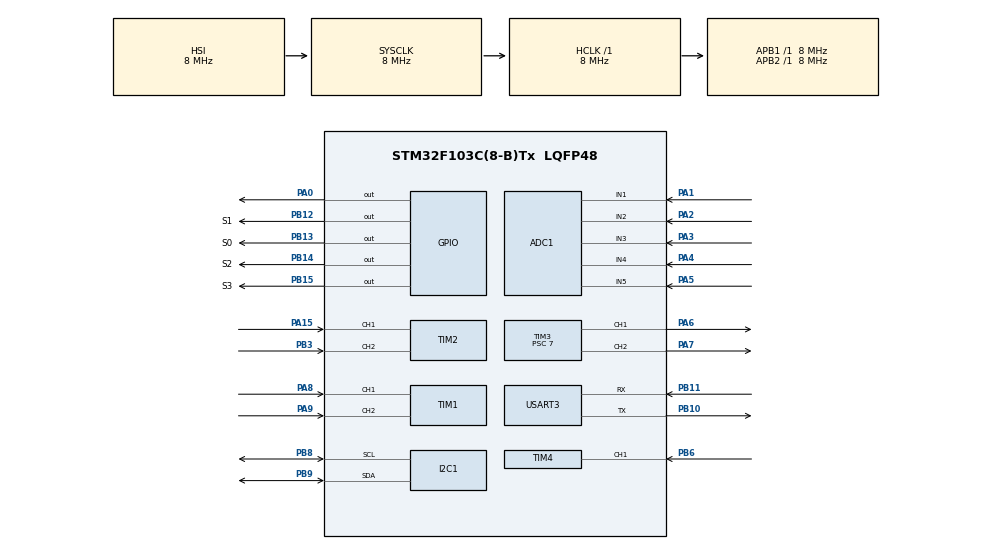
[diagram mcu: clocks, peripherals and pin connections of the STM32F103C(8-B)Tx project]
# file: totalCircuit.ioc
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ADC1.Channel-2\#ChannelRegularConversion=ADC_CHANNEL_1
ADC1.Channel-3\#ChannelRegularConversion=ADC_CHANNEL_2
ADC1.Channel-4\#ChannelRegularConversion=ADC_CHANNEL_3
ADC1.Channel-5\#ChannelRegularConversion=ADC_CHANNEL_4
ADC1.Channel-6\#ChannelRegularConversion=ADC_CHANNEL_5
ADC1.ContinuousConvMode=ENABLE
ADC1.NbrOfConversion=5
ADC1.NbrOfConversionFlag=1
ADC1.Rank-2\#ChannelRegularConversion=1
ADC1.Rank-3\#ChannelRegularConversion=2
ADC1.Rank-4\#ChannelRegularConversion=3
ADC1.Rank-5\#ChannelRegularConversion=4
ADC1.Rank-6\#ChannelRegularConversion=5
ADC1.SamplingTime-2\#ChannelRegularConversion=ADC_SAMPLETIME_239CYCLES_5
ADC1.SamplingTime-3\#ChannelRegularConversion=ADC_SAMPLETIME_239CYCLES_5
ADC1.SamplingTime-4\#ChannelRegularConversion=ADC_SAMPLETIME_239CYCLES_5
ADC1.SamplingTime-5\#ChannelRegularConversion=ADC_SAMPLETIME_239CYCLES_5
ADC1.SamplingTime-6\#ChannelRegularConversion=ADC_SAMPLETIME_239CYCLES_5
ADC1.master=1
Dma.ADC1.0.Direction=DMA_PERIPH_TO_MEMORY
Dma.ADC1.0.Instance=DMA1_Channel1
Dma.ADC1.0.MemDataAlignment=DMA_MDATAALIGN_HALFWORD
Dma.ADC1.0.MemInc=DMA_MINC_ENABLE
Dma.ADC1.0.Mode=DMA_CIRCULAR
Dma.ADC1.0.PeriphDataAlignment=DMA_PDATAALIGN_HALFWORD
Dma.ADC1.0.PeriphInc=DMA_PINC_DISABLE
Dma.ADC1.0.Priority=DMA_PRIORITY_LOW
Dma.Request0=ADC1
Mcu.Family=STM32F1
Mcu.Name=STM32F103C(8-B)Tx
Mcu.Package=LQFP48
NVIC.DMA1_Channel1_IRQn=true\:0\:0\:false\:false\:true\:false\:true\:true
NVIC.PriorityGroup=NVIC_PRIORITYGROUP_4
NVIC.TIM3_IRQn=true\:1\:0\:true\:false\:true\:true\:true\:true
PA0-WKUP.Signal=GPIO_Output
PA1.Signal=ADCx_IN1
PA13.Mode=Serial_Wire
PA13.Signal=SYS_JTMS-SWDIO
PA14.Mode=Serial_Wire
PA14.Signal=SYS_JTCK-SWCLK
PA15.GPIO_PuPd=GPIO_PULLUP
PA15.Signal=S_TIM2_CH1_ETR
PA2.Signal=ADCx_IN2
PA3.Signal=ADCx_IN3
PA4.Signal=ADCx_IN4
PA5.Signal=ADCx_IN5
PA6.Signal=S_TIM3_CH1
PA7.Signal=S_TIM3_CH2
PA8.GPIO_PuPd=GPIO_PULLUP
PA8.Signal=S_TIM1_CH1
PA9.GPIO_PuPd=GPIO_PULLUP
PA9.Signal=S_TIM1_CH2
PB10.Mode=Asynchronous
PB10.Signal=USART3_TX
PB11.Mode=Asynchronous
PB11.Signal=USART3_RX
PB12.GPIO_Label=S1
PB12.Signal=GPIO_Output
PB13.GPIO_Label=S0
PB13.Signal=GPIO_Output
PB14.GPIO_Label=S2
PB14.Signal=GPIO_Output
PB15.GPIO_Label=S3
PB15.Signal=GPIO_Output
PB3.GPIO_PuPd=GPIO_PULLUP
PB3.Signal=S_TIM2_CH2
PB6.Signal=S_TIM4_CH1
PB8.Mode=I2C
PB8.Signal=I2C1_SCL
PB9.Mode=I2C
PB9.Signal=I2C1_SDA
ProjectManager.HeapSize=0x200
ProjectManager.StackSize=0x400
ProjectManager.TargetToolchain=STM32CubeIDE
RCC.AHBFreq_Value=8000000
RCC.APB1Freq_Value=8000000
RCC.APB1TimFreq_Value=8000000
RCC.APB2Freq_Value=8000000
RCC.APB2TimFreq_Value=8000000
RCC.HCLKFreq_Value=8000000
RCC.PLLMUL=RCC_PLL_MUL6
RCC.SYSCLKFreq_VALUE=8000000
RCC.USBFreq_Value=24000000
SH.ADCx_IN1.0=ADC1_IN1,IN1
SH.ADCx_IN2.0=ADC1_IN2,IN2
SH.ADCx_IN3.0=ADC1_IN3,IN3
SH.ADCx_IN4.0=ADC1_IN4,IN4
SH.ADCx_IN5.0=ADC1_IN5,IN5
SH.S_TIM1_CH1.0=TIM1_CH1,Encoder_Interface
SH.S_TIM1_CH2.0=TIM1_CH2,Encoder_Interface
SH.S_TIM2_CH1_ETR.0=TIM2_CH1,Encoder_Interface
SH.S_TIM2_CH2.0=TIM2_CH2,Encoder_Interface
SH.S_TIM3_CH1.0=TIM3_CH1,PWM Generation1 CH1
SH.S_TIM3_CH2.0=TIM3_CH2,PWM Generation2 CH2
SH.S_TIM4_CH1.0=TIM4_CH1,Input_Capture1_from_TI1
SH.S_TIM4_CH1.1=TIM4_CH1,TriggerSource_TI1FP1
TIM1.EncoderMode=TIM_ENCODERMODE_TI12
TIM2.EncoderMode=TIM_ENCODERMODE_TI12
TIM3.Channel-PWM\ Generation1\ CH1=TIM_CHANNEL_1
TIM3.Channel-PWM\ Generation2\ CH2=TIM_CHANNEL_2
TIM3.Period=99
TIM3.Prescaler=7
TIM4.Channel-Input_Capture1_from_TI1=TIM_CHANNEL_1
USART3.VirtualMode=VM_ASYNC
VP_TIM3_VS_ClockSourceINT.Mode=Internal
VP_TIM4_VS_ClockSourceINT.Mode=Internal
VP_TIM4_VS_ControllerModeReset.Mode=Reset Mode
board=custom

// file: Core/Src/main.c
/* USER CODE BEGIN Header */
/**
  ******************************************************************************
  * @file           : main.c
  * @brief          : Main program body
  ******************************************************************************
  * @attention
  *
  * Copyright (c) 2023 STMicroelectronics.
  * All rights reserved.
  *
  * This software is licensed under terms that can be found in the LICENSE file
  * in the root directory of this software component.
  * If no LICENSE file comes with this software, it is provided AS-IS.
  *
  ******************************************************************************
  */
/* USER CODE END Header */
#include "main.h"

/* USER CODE BEGIN Includes */
#include <stdio.h>
#include <stdint.h>
#include <string.h>
#include <stddef.h>
#include <math.h>
/* USER CODE END Includes */

ADC_HandleTypeDef hadc1;
DMA_HandleTypeDef hdma_adc1;

I2C_HandleTypeDef hi2c1;

TIM_HandleTypeDef htim1;
TIM_HandleTypeDef htim2;
TIM_HandleTypeDef htim3;
TIM_HandleTypeDef htim4;

UART_HandleTypeDef huart3;

/* USER CODE BEGIN PV */
//bien lay mau dong co
float n = 0.0;
int encoder_cnt_1 = 0, encoder_cnt_pre_1 = 0, encoder_cnt_2 = 0, encoder_cnt_pre_2 = 0;
float rate_1 = 0, rate_2 = 0;
int k = 0, kkkk = 0;
float setpoint = 100;
float rpm_tb1 = 0, rpm_tb2 = 0;
//biến sensorline
uint16_t AdcValues[5];
uint16_t ADCMinValue[5] = {247, 237, 192, 192, 204};
uint16_t ADCMaxValue[5] = {3203, 3118, 2849, 3005, 2974};
uint16_t sumADCmax = 0, sumADCmin = 0;
uint16_t Ymax = 3030, Ymin = 210;
uint16_t AdcValuesAfterCalib[5];
float A[5], e2 = 0, pre_e2 = 0, e3 = 0, pre_e3 = 0;
float sum_Adcvalues = 0;
float pwm = 0.0;
//biến colorsensor
uint32_t red_value = 0, blue_value = 0, green_value = 0;
int green = 0, red = 0, blue = 0, hangXanh = 0, hangDo = 0, empty = 1, outline = 0;

//biến động cơ
uint32_t current_time = 0, time_A = 0, time_B = 0;
int encoder_cnt_A = 0, encoder_cnt_pre_A = 0, encoder_cnt_B = 0, encoder_cnt_pre_B = 0;
float rpm_A = 0, rpm_B = 0, v_A = 0, v_B = 0, r = 0.0325, b = 0.26;
int stop = 0;
float duty_cycle_1 = 0, duty_cycle_pre_1 = 0, duty_cycle_2 = 0, duty_cycle_pre_2 = 0, duty_cycle_A = 0, duty_cycle_B = 0;

float P_part_A = 0, I_part_A = 0, D_part_A = 0;
float P_part_B = 0, I_part_B = 0, D_part_B = 0;

float er_A = 0, er_A_pre = 0, er_A_pre_pre = 0;
float er_B = 0, er_B_pre = 0, er_B_pre_pre = 0;
float error_rpm_A = 0, error_prev_A = 0, integral_error_A = 0, derivative_error_A = 0, error_rpm_B = 0, error_prev_B = 0, integral_error_B = 0, derivative_error_B = 0;
//he thong
float Ts = 0.01;
float vr = 0.7, vtb = 0, wr = 0, s = 0;
float v, w;
float k1 = 0, k2 = 280, k3 = 20;//180 16
float kp_A = 0.5, ki_A = 9.5, kd_A = 0.001; //kp_A = 0.56, ki_A = 11.2, kd_A = 0.0025
float kp_B = 0.3, ki_B = 10, kd_B = 0.001; //kp_B = 0.388, ki_B = 11.5, kd_B = 0.0016;
float e1_line = 0, e2_line = 0, e3_line = 0;
float setpoint_r = 0, setpoint_l = 0;
int i = 0, count = 0;
#define PI 3.1416
/* USER CODE END PV */

void SystemClock_Config(void);
static void MX_GPIO_Init(void);
static void MX_DMA_Init(void);
static void MX_TIM1_Init(void);
static void MX_TIM2_Init(void);
static void MX_TIM3_Init(void);
static void MX_TIM4_Init(void);
static void MX_ADC1_Init(void);
static void MX_USART3_UART_Init(void);
static void MX_I2C1_Init(void);
/* USER CODE BEGIN PFP */
//ham tri tuyet doi
float abs_(float a) {
	if(a < 0) return -a;
	else return a;
}

//xe
void Follow_Tracking(void)
{
	wr = -e3;
	v = vr * cos(e3) + k1 * e1_line; //m/s
	w = wr + vr * k2 * e2/1000  + k3 * vr * sin(e3); //rad/s
	setpoint_r = (1 / r) * (v - b * w/2) * (60 / (2 * PI)); //rpm
	setpoint_l = (1 / r) * (v + b * w/2) * (60 / (2 * PI)); //rpm
	if(setpoint_r < 0){
		setpoint_r = 0;
	}
	if(setpoint_r >= 250){
		setpoint_r = 250;
	}
	if(setpoint_l < 0){
		setpoint_l = 0;
	}
	if(setpoint_l >= 250){
		setpoint_l = 250;
	}
}
//stop to get goods and no line no run
void stop_or_run(){
	if((empty == 1 && AdcValues[0] >= 230 && AdcValues[1] >= 230 && AdcValues[2] >= 230 && AdcValues[3] >= 230 && AdcValues[4] >= 230)) {
		stop = 1;
	}
}
void no_line_no_run() {
	if((AdcValues[0] <= 700 && AdcValues[1] <= 700 && AdcValues[2] <= 700 && AdcValues[3] <= 700 && AdcValues[4] <= 700)){
		stop = 1;
		outline = 1;
	}
}
//check good?
void yes_or_no_good(){
	if(green == 1 && red == 0) {
		  hangXanh = 1;
		  hangDo = 0;
		  empty = 0;
	}
	if(green == 0 && red == 1){

		  hangXanh = 0;
		  hangDo = 1;
		  empty = 0;
	}
}
//sensorline
void CaculatorFuntionSensor(void)
   {
            A[0] = (float) ( Ymax - Ymin ) / ( ADCMaxValue[0] - ADCMinValue[0] );
            A[1] = (float) ( Ymax - Ymin ) / ( ADCMaxValue[1] - ADCMinValue[1] );
            A[2] = (float) ( Ymax - Ymin ) / ( ADCMaxValue[2] - ADCMinValue[2] );
            A[3] = (float) ( Ymax - Ymin ) / ( ADCMaxValue[3] - ADCMinValue[3] );
            A[4] = (float) ( Ymax - Ymin ) / ( ADCMaxValue[4] - ADCMinValue[4] );
      }
void CalibrationSenrsorValue(uint16_t *ADCValue)
{
		AdcValuesAfterCalib[0] = (uint16_t) (Ymin + A[0]*( ADCValue[0] - ADCMinValue[0]));
		AdcValuesAfterCalib[1] = (uint16_t) (Ymin + A[1]*( ADCValue[1] - ADCMinValue[1]));
		AdcValuesAfterCalib[2] = (uint16_t) (Ymin + A[2]*( ADCValue[2] - ADCMinValue[2]));
		AdcValuesAfterCalib[3] = (uint16_t) (Ymin + A[3]*( ADCValue[3] - ADCMinValue[3]));
		AdcValuesAfterCalib[4] = (uint16_t) (Ymin + A[4]*( ADCValue[4] - ADCMinValue[4]));
}

void CalibSensorDependOnEnvironment(void)
{
	for(uint8_t i = 0; i < 5; i++)
	{
		if(AdcValues[i] != 0)
		{
			if(AdcValues[i] > ADCMaxValue[i])
				ADCMaxValue[i] = AdcValues[i];
			if(AdcValues[i] < ADCMinValue[i])
				ADCMinValue[i] = AdcValues[i];
		}
		sumADCmax += ADCMaxValue[i];
		sumADCmin += ADCMinValue[i];
	}
	Ymax = sumADCmax/5;
	Ymin = sumADCmin/5;
	sumADCmax = 0;
	sumADCmin = 0;
}
float ErrorLine(void)
{
      CalibrationSenrsorValue(AdcValues);
      sum_Adcvalues = (AdcValuesAfterCalib[0] + AdcValuesAfterCalib[1] + AdcValuesAfterCalib[2] + AdcValuesAfterCalib[3] + AdcValuesAfterCalib[4]);
      float e2_line = (2*(AdcValuesAfterCalib[4] - AdcValuesAfterCalib[0]) + (AdcValuesAfterCalib[3] - AdcValuesAfterCalib[1]))*17/sum_Adcvalues;
      //e2_line = (e2_line + 0.2565)/0.7247;
      return -e2_line;
}
void find_e2_e3(void) {
	  CalibSensorDependOnEnvironment();
	  CaculatorFuntionSensor();
	  CalibrationSenrsorValue(AdcValues);
	  e2 = ErrorLine();
	  if(vtb != 0){
		  e3 = atan((e2 - pre_e2)/ (vtb*Ts*1000));
	  }
	  else e3 = 0;
}

//color sensor
void color_recognize(){
   for(int i = 0; i < 3; i++){
         switch (i){
            case 0:
               HAL_GPIO_WritePin(S2_GPIO_Port, S2_Pin, 0);
               HAL_GPIO_WritePin(S3_GPIO_Port, S3_Pin, 0);
               red_value = HAL_TIM_ReadCapturedValue(&htim4, TIM_CHANNEL_1);
               HAL_Delay(1);
               break;
            case 1:
               HAL_GPIO_WritePin(S2_GPIO_Port, S2_Pin, 0);
               HAL_GPIO_WritePin(S3_GPIO_Port, S3_Pin, 1);
               blue_value = HAL_TIM_ReadCapturedValue(&htim4, TIM_CHANNEL_1);
               HAL_Delay(1);
               break;
            case 2:
               HAL_GPIO_WritePin(S2_GPIO_Port, S2_Pin, 1);
               HAL_GPIO_WritePin(S3_GPIO_Port, S3_Pin, 1);
               green_value = HAL_TIM_ReadCapturedValue(&htim4, TIM_CHANNEL_1);
               HAL_Delay(1);
         }
      }
   //detect Red
      if ((red_value > 30700 && red_value < 31000) &&  (blue_value > 30700 && blue_value < 31000) && (green_value > 30700 && green_value < 31000)){
         green = 0;
         red = 1;
         blue = 0;
      }
      // Green
      else if ((red_value > 200 && red_value < 250) &&  (blue_value > 200 && blue_value < 250) && (green_value > 220 && green_value < 300)){
         green=1;
         red=0;
         blue = 0;
      }
      //Blue
      else if((red_value > 800 && red_value < 1000) &&  (blue_value > 1300 && blue_value < 1500) && ((blue_value > red_value)) && (red_value > green_value)){
		green=0;
		red=0;
		blue = 1;
      }
      else {
         green=0;
         red = 0;
         blue = 0;
      }
}

//giam toc do
void brake(void) {
	if(s >= 6500 && empty == 1) {
		vr = 0.2;
	}
	else if(empty == 0 && s <= 8800){
		vr = 0.7;
	}else if(empty == 0 && s > 8800 && s <= 9500){
		vr = 0.5;
	}else if(empty == 0 && s > 9500 && s <= 11600){
		vr = 0.7;
	}else if(empty == 0 && s > 11600){
		vr = 0.2;
	}
}

//motor
void find_speed(void) {
	//read encoder
	encoder_cnt_A = __HAL_TIM_GET_COUNTER(&htim1); //right
	encoder_cnt_B = __HAL_TIM_GET_COUNTER(&htim2); //left
	//cal rpm and speed (m/s)
	rpm_A = 60*((float)encoder_cnt_A - (float)encoder_cnt_pre_A)/(1496*Ts);
	rpm_B = -60*((float)encoder_cnt_B - (float)encoder_cnt_pre_B)/(1496*Ts);
	v_A = abs_(rpm_A*2*PI*r/60); //m/s
	v_B = abs_(rpm_B*2*PI*r/60); //m/s
	vtb = (v_A+v_B)/2; //m/s
}

float control_motor_A(float rpm_motor, float expected_rpm){ //dc1
	er_A_pre_pre = er_A_pre;
	er_A_pre = er_A;
	er_A = expected_rpm - rpm_motor;
	duty_cycle_pre_1 = duty_cycle_1;
	P_part_A = kp_A*(er_A - er_A_pre);
	I_part_A = 0.5*ki_A*Ts*(er_A + er_A_pre);
	D_part_A = kd_A/Ts*(er_A - 2*er_A_pre + er_A_pre_pre);
	duty_cycle_1 = duty_cycle_pre_1 + P_part_A + I_part_A + D_part_A;
	if(duty_cycle_1 < 0) duty_cycle_1 = 0;
	if(duty_cycle_1 > 100) duty_cycle_1 = 99;
	return duty_cycle_1;
}
float control_motor_B(float rpm_motor, float expected_rpm){ //dc2
	er_B_pre_pre = er_B_pre;
	er_B_pre = er_B;
	er_B = expected_rpm - rpm_motor;
	duty_cycle_pre_2 = duty_cycle_2;
	P_part_B = kp_B*(er_B - er_B_pre);
	I_part_B = 0.5*ki_B*Ts*(er_B + er_B_pre);
	D_part_B = kd_A/Ts*(er_B - 2*er_B_pre + er_B_pre_pre);
	duty_cycle_2 = duty_cycle_pre_2 + P_part_B + I_part_B + D_part_B;
	if(duty_cycle_2 < 0) duty_cycle_2 = 0;
	if(duty_cycle_2 > 100) duty_cycle_2 = 99;
	return duty_cycle_2;
}

//code lay mau cam bien mau
//void HAL_TIM_PeriodElapsedCallback(TIM_HandleTypeDef *htim){
//	i++;
//	if(i == 1000){
//		char str[30];
//		snprintf(str, sizeof(str), "%.2f %.2f\r\n",(float)blue_value, Ts);
//		HAL_UART_Transmit(&huart3, (uint8_t *)str, strlen(str), HAL_MAX_DELAY);
//		i = 0;
//		Ts += 1;
//		k++;
//	}
//}

//code xem dap ung dong co
//void HAL_TIM_PeriodElapsedCallback(TIM_HandleTypeDef *htim){
////	i++;
////	if(i == 95){
//		find_speed();
//		duty_cycle_A = control_motor_A(rpm_A, setpoint);
//		duty_cycle_B = control_motor_B(rpm_B, setpoint);
//		TIM3->CCR1 = (99 - (int)duty_cycle_A);
//		TIM3->CCR2 = (99 - (int)duty_cycle_B);
//		encoder_cnt_pre_A = encoder_cnt_A;
//		encoder_cnt_pre_B = encoder_cnt_B;
////		char str[30];
////		snprintf(str, sizeof(str), "%.2f %.2f\r\n",rpm_B, duty_cycle_B);
////		HAL_UART_Transmit(&huart3, (uint8_t *)str, strlen(str), HAL_MAX_DELAY);
//		HAL_GPIO_TogglePin(GPIOA, GPIO_PIN_0);
////		i = 0;
////	}
//}

//code lay mau dong co tim ham truyen
//void HAL_TIM_PeriodElapsedCallback(TIM_HandleTypeDef *htim){
//	i++;
//	if(i == 90){
//		uint32_t current_time = HAL_GetTick();
//		//n = 52.5 + 46.5 * sin(2 * 3.14 * 0.25 * current_time / 1000.0); //linear from 7-100%
//		n = 54 + 45 * sin(2 * 3.14 * 0.25 * (float)current_time / 1000.0); //linear from 10-100%
//		__HAL_TIM_SetCompare(&htim3, TIM_CHANNEL_1, (99-n));
////		n = 99;
////		TIM3->CCR1 = 0;
////		TIM3->CCR2 = 0;
//		encoder_cnt_2 =__HAL_TIM_GET_COUNTER(&htim2);
//		encoder_cnt_1 =__HAL_TIM_GET_COUNTER(&htim1);
//
//		rate_2 = -60*((float)encoder_cnt_2 - (float)encoder_cnt_pre_2)/(1496*0.01);
//		rate_1 = 60*((float)encoder_cnt_1 - (float)encoder_cnt_pre_1)/(1496*0.01);
//
//		encoder_cnt_pre_2 = encoder_cnt_2;
//		encoder_cnt_pre_1 = encoder_cnt_1;
//
//		char str[30];
//		snprintf(str, sizeof(str), "%.2f %.2f\r\n",rate_1, n+1);
//		HAL_UART_Transmit(&huart3, (uint8_t *)str, strlen(str), HAL_MAX_DELAY);
//		HAL_GPIO_TogglePin(GPIOA, GPIO_PIN_0);
////		k++;
//		i = 0;
//	}
//}

//code chuong trinh chinh
void HAL_TIM_PeriodElapsedCallback(TIM_HandleTypeDef *htim){
	i++;
	if(i == 85) { //tglm la 0.05s 85
		//no line no run and stop to get goods
		stop_or_run(); //den vach tai hang hoac ra khoi line se dung 'stop = 1'
		no_line_no_run();
		brake();
		//find error
		find_e2_e3();
		//find_speed
		find_speed();
		//fl tracking (lyapunov)
		Follow_Tracking();
		//find pwm to provide for motor
		duty_cycle_A = control_motor_A(rpm_A, setpoint_r);  //return pwm dc1
		duty_cycle_B = control_motor_B(rpm_B, setpoint_l);  //return pwm dc2
		//setup for next time
		encoder_cnt_pre_A = encoder_cnt_A;
		encoder_cnt_pre_B = encoder_cnt_B;
		pre_e2 = e2;
		pre_e3 = e3;
		//run fl pwm
		if(stop == 0) {
		  TIM3->CCR1 = (99-(int)duty_cycle_A);
		  TIM3->CCR2 = (99-(int)duty_cycle_B);
		}
		else {
		  TIM3->CCR1 = 99;
		  TIM3->CCR2 = 99;
		}
		s += vtb*Ts*1000;
		if((hangXanh == 1 || hangDo == 1) && outline == 0){
			stop = 0;
			if(empty == 0 && ((AdcValues[0] < 1000 && AdcValues[1] > 2000 && AdcValues[2] > 2000 && AdcValues[3] > 2000 && AdcValues[4] < 1000) //01110
					|| (AdcValues[0] > 2000 && AdcValues[1] < 1000 && AdcValues[2] < 1000 && AdcValues[3] < 1000 && AdcValues[4] > 2000) //10001
					|| (AdcValues[0] < 1000 && AdcValues[1] > 2000 && AdcValues[2] < 1000 && AdcValues[3] > 2000 && AdcValues[4] < 1000) //01010
					|| (AdcValues[0] > 2000 && AdcValues[1] > 2000 && AdcValues[2] < 1000 && AdcValues[3] > 2000 && AdcValues[4] < 1000) //11010
					|| (AdcValues[0] > 2000 && AdcValues[1] > 2000 && AdcValues[2] < 1000 && AdcValues[3] > 2000 && AdcValues[4] > 2000) //11011
					|| (AdcValues[0] > 2000 && AdcValues[1] > 2000 && AdcValues[2] < 1000 && AdcValues[3] < 1000 && AdcValues[4] > 2000) //11001
					|| (AdcValues[0] > 2000 && AdcValues[1] < 1000 && AdcValues[2] < 1000 && AdcValues[3] > 2000 && AdcValues[4] > 2000) //10011
					|| (AdcValues[0] > 2000 && AdcValues[1] < 1000 && AdcValues[2] > 2000 && AdcValues[3] > 2000 && AdcValues[4] < 1000) //10110
					|| (AdcValues[0] < 1000 && AdcValues[1] > 2000 && AdcValues[2] > 2000 && AdcValues[3] < 1000 && AdcValues[4] > 2000)
					|| (AdcValues[0] > 2000 && AdcValues[1] < 1000 && AdcValues[3] < 1000 && AdcValues[4] > 2000)
					|| (AdcValues[1] > 2000 && AdcValues[0] < 1000 && AdcValues[4] < 1000 && AdcValues[3] > 2000)
					|| (AdcValues[0] > 2000 && AdcValues[1] > 2000 && AdcValues[3] > 2000 && AdcValues[4] > 2000 && AdcValues[2] < 1000))){ //01101
				if(hangXanh == 1) {
					TIM3->CCR1 = 99;//99
					TIM3->CCR2 = 0;//0
				}
				else if(hangDo == 1){
					TIM3->CCR1 = 0;
					TIM3->CCR2 = 99;
				}
			}
		}
		//code lay mau sai so tra ve qua uart
//		HAL_GPIO_TogglePin(GPIOA, GPIO_PIN_0);
//		char str[30];
//		snprintf(str, sizeof(str), "%.2f %.2f\r\n",e2, vtb);
//		HAL_UART_Transmit(&huart3, (uint8_t *)str, strlen(str), HAL_MAX_DELAY);
		i = 0;
	}
}
/* USER CODE END PFP */

int main(void)
{

  /* MCU Configuration--------------------------------------------------------*/

  /* Reset of all peripherals, Initializes the Flash interface and the Systick. */
  HAL_Init();

  /* Configure the system clock */
  SystemClock_Config();

  /* Initialize all configured peripherals */
  MX_GPIO_Init();
  MX_DMA_Init();
  MX_TIM1_Init();
  MX_TIM2_Init();
  MX_TIM3_Init();
  MX_TIM4_Init();
  MX_ADC1_Init();
  MX_USART3_UART_Init();
  MX_I2C1_Init();
  /* USER CODE BEGIN 2 */
  //cảm biến màu
  HAL_GPIO_WritePin(S0_GPIO_Port, S0_Pin, 0);
  HAL_GPIO_WritePin(S1_GPIO_Port, S1_Pin, 1);
  HAL_GPIO_WritePin(S2_GPIO_Port, S2_Pin, 0);
  HAL_GPIO_WritePin(S3_GPIO_Port, S3_Pin, 1);
  HAL_TIM_IC_Start(&htim4, TIM_CHANNEL_1);

  //dò line
  HAL_ADC_Start_DMA(&hadc1,(uint32_t*)AdcValues,5);
  CalibSensorDependOnEnvironment();
  CaculatorFuntionSensor();

  //động cơ
  HAL_TIM_Encoder_Start(&htim1, TIM_CHANNEL_1 | TIM_CHANNEL_2);
  HAL_TIM_Encoder_Start(&htim2, TIM_CHANNEL_1 | TIM_CHANNEL_2);
  HAL_TIM_PWM_Start(&htim3, TIM_CHANNEL_1);
  HAL_TIM_PWM_Start(&htim3, TIM_CHANNEL_2);
  HAL_TIM_Base_Start_IT(&htim3);
  TIM3->CCR1 = 99;
  TIM3->CCR2 = 99;
  /* USER CODE END 2 */

  /* Infinite loop */
  while (1)
  {

    /* USER CODE BEGIN 3 */
		//no line no run and stop to get goods
		stop_or_run(); //den vach tai hang hoac ra khoi line se dung 'stop = 1'
		no_line_no_run();
		//nhan dien mau hang
		color_recognize();
		//check is there good or not
		yes_or_no_good();
		//giam toc
		brake();
		if((hangXanh == 1 || hangDo == 1) && outline == 0){
			stop = 0;
			if(empty == 0 && ((AdcValues[0] < 1000 && AdcValues[1] > 2000 && AdcValues[2] > 2000 && AdcValues[3] > 2000 && AdcValues[4] < 1000) //01110
					|| (AdcValues[0] > 2000 && AdcValues[1] < 1000 && AdcValues[2] < 1000 && AdcValues[3] < 1000 && AdcValues[4] > 2000) //10001
					|| (AdcValues[0] < 1000 && AdcValues[1] > 2000 && AdcValues[2] < 1000 && AdcValues[3] > 2000 && AdcValues[4] < 1000) //01010
					|| (AdcValues[0] > 2000 && AdcValues[1] > 2000 && AdcValues[2] < 1000 && AdcValues[3] > 2000 && AdcValues[4] < 1000) //11010
					|| (AdcValues[0] > 2000 && AdcValues[1] > 2000 && AdcValues[2] < 1000 && AdcValues[3] > 2000 && AdcValues[4] > 2000) //11011
					|| (AdcValues[0] > 2000 && AdcValues[1] > 2000 && AdcValues[2] < 1000 && AdcValues[3] < 1000 && AdcValues[4] > 2000) //11001
					|| (AdcValues[0] > 2000 && AdcValues[1] < 1000 && AdcValues[2] < 1000 && AdcValues[3] > 2000 && AdcValues[4] > 2000) //10011
					|| (AdcValues[0] > 2000 && AdcValues[1] < 1000 && AdcValues[2] > 2000 && AdcValues[3] > 2000 && AdcValues[4] < 1000) //10110
					|| (AdcValues[0] < 1000 && AdcValues[1] > 2000 && AdcValues[2] > 2000 && AdcValues[3] < 1000 && AdcValues[4] > 2000) //01101
					|| (AdcValues[0] > 2000 && AdcValues[1] < 1000 && AdcValues[3] < 1000 && AdcValues[4] > 2000) //10_01
					|| (AdcValues[1] > 2000 && AdcValues[0] < 1000 && AdcValues[4] < 1000 && AdcValues[3] > 2000) //01_10
					|| (AdcValues[0] > 2000 && AdcValues[1] > 2000 && AdcValues[3] > 2000 && AdcValues[4] > 2000 && AdcValues[2] < 1000))){ //11011
				if(hangXanh == 1) {
					TIM3->CCR1 = 99;
					TIM3->CCR2 = 0;
					HAL_Delay(10);
				}
				else if(hangDo == 1){
					TIM3->CCR1 = 0;
					TIM3->CCR2 = 99;
					HAL_Delay(10);
				}
			}
		}
  }
  /* USER CODE END 3 */
}

void SystemClock_Config(void)
{
  RCC_OscInitTypeDef RCC_OscInitStruct = {0};
  RCC_ClkInitTypeDef RCC_ClkInitStruct = {0};
  RCC_PeriphCLKInitTypeDef PeriphClkInit = {0};

  /** Initializes the RCC Oscillators according to the specified parameters
  * in the RCC_OscInitTypeDef structure.
  */
  RCC_OscInitStruct.OscillatorType = RCC_OSCILLATORTYPE_HSI;
  RCC_OscInitStruct.HSIState = RCC_HSI_ON;
  RCC_OscInitStruct.HSICalibrationValue = RCC_HSICALIBRATION_DEFAULT;
  RCC_OscInitStruct.PLL.PLLState = RCC_PLL_NONE;
  if (HAL_RCC_OscConfig(&RCC_OscInitStruct) != HAL_OK)
  {
    Error_Handler();
  }

  /** Initializes the CPU, AHB and APB buses clocks
  */
  RCC_ClkInitStruct.ClockType = RCC_CLOCKTYPE_HCLK|RCC_CLOCKTYPE_SYSCLK
                              |RCC_CLOCKTYPE_PCLK1|RCC_CLOCKTYPE_PCLK2;
  RCC_ClkInitStruct.SYSCLKSource = RCC_SYSCLKSOURCE_HSI;
  RCC_ClkInitStruct.AHBCLKDivider = RCC_SYSCLK_DIV1;
  RCC_ClkInitStruct.APB1CLKDivider = RCC_HCLK_DIV1;
  RCC_ClkInitStruct.APB2CLKDivider = RCC_HCLK_DIV1;

  if (HAL_RCC_ClockConfig(&RCC_ClkInitStruct, FLASH_LATENCY_0) != HAL_OK)
  {
    Error_Handler();
  }
  PeriphClkInit.PeriphClockSelection = RCC_PERIPHCLK_ADC;
  PeriphClkInit.AdcClockSelection = RCC_ADCPCLK2_DIV2;
  if (HAL_RCCEx_PeriphCLKConfig(&PeriphClkInit) != HAL_OK)
  {
    Error_Handler();
  }
}

static void MX_ADC1_Init(void)
{

  ADC_ChannelConfTypeDef sConfig = {0};

  /** Common config
  */
  hadc1.Instance = ADC1;
  hadc1.Init.ScanConvMode = ADC_SCAN_ENABLE;
  hadc1.Init.ContinuousConvMode = ENABLE;
  hadc1.Init.DiscontinuousConvMode = DISABLE;
  hadc1.Init.ExternalTrigConv = ADC_SOFTWARE_START;
  hadc1.Init.DataAlign = ADC_DATAALIGN_RIGHT;
  hadc1.Init.NbrOfConversion = 5;
  if (HAL_ADC_Init(&hadc1) != HAL_OK)
  {
    Error_Handler();
  }

  /** Configure Regular Channel
  */
  sConfig.Channel = ADC_CHANNEL_1;
  sConfig.Rank = ADC_REGULAR_RANK_1;
  sConfig.SamplingTime = ADC_SAMPLETIME_239CYCLES_5;
  if (HAL_ADC_ConfigChannel(&hadc1, &sConfig) != HAL_OK)
  {
    Error_Handler();
  }

  /** Configure Regular Channel
  */
  sConfig.Channel = ADC_CHANNEL_2;
  sConfig.Rank = ADC_REGULAR_RANK_2;
  if (HAL_ADC_ConfigChannel(&hadc1, &sConfig) != HAL_OK)
  {
    Error_Handler();
  }

  /** Configure Regular Channel
  */
  sConfig.Channel = ADC_CHANNEL_3;
  sConfig.Rank = ADC_REGULAR_RANK_3;
  if (HAL_ADC_ConfigChannel(&hadc1, &sConfig) != HAL_OK)
  {
    Error_Handler();
  }

  /** Configure Regular Channel
  */
  sConfig.Channel = ADC_CHANNEL_4;
  sConfig.Rank = ADC_REGULAR_RANK_4;
  if (HAL_ADC_ConfigChannel(&hadc1, &sConfig) != HAL_OK)
  {
    Error_Handler();
  }

  /** Configure Regular Channel
  */
  sConfig.Channel = ADC_CHANNEL_5;
  sConfig.Rank = ADC_REGULAR_RANK_5;
  if (HAL_ADC_ConfigChannel(&hadc1, &sConfig) != HAL_OK)
  {
    Error_Handler();
  }

}

static void MX_I2C1_Init(void)
{

  hi2c1.Instance = I2C1;
  hi2c1.Init.ClockSpeed = 100000;
  hi2c1.Init.DutyCycle = I2C_DUTYCYCLE_2;
  hi2c1.Init.OwnAddress1 = 0;
  hi2c1.Init.AddressingMode = I2C_ADDRESSINGMODE_7BIT;
  hi2c1.Init.DualAddressMode = I2C_DUALADDRESS_DISABLE;
  hi2c1.Init.OwnAddress2 = 0;
  hi2c1.Init.GeneralCallMode = I2C_GENERALCALL_DISABLE;
  hi2c1.Init.NoStretchMode = I2C_NOSTRETCH_DISABLE;
  if (HAL_I2C_Init(&hi2c1) != HAL_OK)
  {
    Error_Handler();
  }

}

static void MX_TIM1_Init(void)
{

  TIM_Encoder_InitTypeDef sConfig = {0};
  TIM_MasterConfigTypeDef sMasterConfig = {0};

  htim1.Instance = TIM1;
  htim1.Init.Prescaler = 0;
  htim1.Init.CounterMode = TIM_COUNTERMODE_UP;
  htim1.Init.Period = 65535;
  htim1.Init.ClockDivision = TIM_CLOCKDIVISION_DIV1;
  htim1.Init.RepetitionCounter = 0;
  htim1.Init.AutoReloadPreload = TIM_AUTORELOAD_PRELOAD_DISABLE;
  sConfig.EncoderMode = TIM_ENCODERMODE_TI12;
  sConfig.IC1Polarity = TIM_ICPOLARITY_RISING;
  sConfig.IC1Selection = TIM_ICSELECTION_DIRECTTI;
  sConfig.IC1Prescaler = TIM_ICPSC_DIV1;
  sConfig.IC1Filter = 0;
  sConfig.IC2Polarity = TIM_ICPOLARITY_RISING;
  sConfig.IC2Selection = TIM_ICSELECTION_DIRECTTI;
  sConfig.IC2Prescaler = TIM_ICPSC_DIV1;
  sConfig.IC2Filter = 0;
  if (HAL_TIM_Encoder_Init(&htim1, &sConfig) != HAL_OK)
  {
    Error_Handler();
  }
  sMasterConfig.MasterOutputTrigger = TIM_TRGO_RESET;
  sMasterConfig.MasterSlaveMode = TIM_MASTERSLAVEMODE_DISABLE;
  if (HAL_TIMEx_MasterConfigSynchronization(&htim1, &sMasterConfig) != HAL_OK)
  {
    Error_Handler();
  }

}

static void MX_TIM2_Init(void)
{

  TIM_Encoder_InitTypeDef sConfig = {0};
  TIM_MasterConfigTypeDef sMasterConfig = {0};

  htim2.Instance = TIM2;
  htim2.Init.Prescaler = 0;
  htim2.Init.CounterMode = TIM_COUNTERMODE_UP;
  htim2.Init.Period = 65535;
  htim2.Init.ClockDivision = TIM_CLOCKDIVISION_DIV1;
  htim2.Init.AutoReloadPreload = TIM_AUTORELOAD_PRELOAD_DISABLE;
  sConfig.EncoderMode = TIM_ENCODERMODE_TI12;
  sConfig.IC1Polarity = TIM_ICPOLARITY_RISING;
  sConfig.IC1Selection = TIM_ICSELECTION_DIRECTTI;
  sConfig.IC1Prescaler = TIM_ICPSC_DIV1;
  sConfig.IC1Filter = 0;
  sConfig.IC2Polarity = TIM_ICPOLARITY_RISING;
  sConfig.IC2Selection = TIM_ICSELECTION_DIRECTTI;
  sConfig.IC2Prescaler = TIM_ICPSC_DIV1;
  sConfig.IC2Filter = 0;
  if (HAL_TIM_Encoder_Init(&htim2, &sConfig) != HAL_OK)
  {
    Error_Handler();
  }
  sMasterConfig.MasterOutputTrigger = TIM_TRGO_RESET;
  sMasterConfig.MasterSlaveMode = TIM_MASTERSLAVEMODE_DISABLE;
  if (HAL_TIMEx_MasterConfigSynchronization(&htim2, &sMasterConfig) != HAL_OK)
  {
    Error_Handler();
  }

}

static void MX_TIM3_Init(void)
{

  TIM_ClockConfigTypeDef sClockSourceConfig = {0};
  TIM_MasterConfigTypeDef sMasterConfig = {0};
  TIM_OC_InitTypeDef sConfigOC = {0};

  htim3.Instance = TIM3;
  htim3.Init.Prescaler = 7;
  htim3.Init.CounterMode = TIM_COUNTERMODE_UP;
  htim3.Init.Period = 99;
  htim3.Init.ClockDivision = TIM_CLOCKDIVISION_DIV1;
  htim3.Init.AutoReloadPreload = TIM_AUTORELOAD_PRELOAD_DISABLE;
  if (HAL_TIM_Base_Init(&htim3) != HAL_OK)
  {
    Error_Handler();
  }
  sClockSourceConfig.ClockSource = TIM_CLOCKSOURCE_INTERNAL;
  if (HAL_TIM_ConfigClockSource(&htim3, &sClockSourceConfig) != HAL_OK)
  {
    Error_Handler();
  }
  if (HAL_TIM_PWM_Init(&htim3) != HAL_OK)
  {
    Error_Handler();
  }
  sMasterConfig.MasterOutputTrigger = TIM_TRGO_RESET;
  sMasterConfig.MasterSlaveMode = TIM_MASTERSLAVEMODE_DISABLE;
  if (HAL_TIMEx_MasterConfigSynchronization(&htim3, &sMasterConfig) != HAL_OK)
  {
    Error_Handler();
  }
  sConfigOC.OCMode = TIM_OCMODE_PWM1;
  sConfigOC.Pulse = 0;
  sConfigOC.OCPolarity = TIM_OCPOLARITY_HIGH;
  sConfigOC.OCFastMode = TIM_OCFAST_DISABLE;
  if (HAL_TIM_PWM_ConfigChannel(&htim3, &sConfigOC, TIM_CHANNEL_1) != HAL_OK)
  {
    Error_Handler();
  }
  if (HAL_TIM_PWM_ConfigChannel(&htim3, &sConfigOC, TIM_CHANNEL_2) != HAL_OK)
  {
    Error_Handler();
  }
  HAL_TIM_MspPostInit(&htim3);

}

static void MX_TIM4_Init(void)
{

  TIM_ClockConfigTypeDef sClockSourceConfig = {0};
  TIM_SlaveConfigTypeDef sSlaveConfig = {0};
  TIM_MasterConfigTypeDef sMasterConfig = {0};
  TIM_IC_InitTypeDef sConfigIC = {0};

  htim4.Instance = TIM4;
  htim4.Init.Prescaler = 0;
  htim4.Init.CounterMode = TIM_COUNTERMODE_UP;
  htim4.Init.Period = 65535;
  htim4.Init.ClockDivision = TIM_CLOCKDIVISION_DIV1;
  htim4.Init.AutoReloadPreload = TIM_AUTORELOAD_PRELOAD_DISABLE;
  if (HAL_TIM_Base_Init(&htim4) != HAL_OK)
  {
    Error_Handler();
  }
  sClockSourceConfig.ClockSource = TIM_CLOCKSOURCE_INTERNAL;
  if (HAL_TIM_ConfigClockSource(&htim4, &sClockSourceConfig) != HAL_OK)
  {
    Error_Handler();
  }
  if (HAL_TIM_IC_Init(&htim4) != HAL_OK)
  {
    Error_Handler();
  }
  sSlaveConfig.SlaveMode = TIM_SLAVEMODE_RESET;
  sSlaveConfig.InputTrigger = TIM_TS_TI1FP1;
  sSlaveConfig.TriggerPolarity = TIM_INPUTCHANNELPOLARITY_RISING;
  sSlaveConfig.TriggerFilter = 0;
  if (HAL_TIM_SlaveConfigSynchro(&htim4, &sSlaveConfig) != HAL_OK)
  {
    Error_Handler();
  }
  sMasterConfig.MasterOutputTrigger = TIM_TRGO_RESET;
  sMasterConfig.MasterSlaveMode = TIM_MASTERSLAVEMODE_DISABLE;
  if (HAL_TIMEx_MasterConfigSynchronization(&htim4, &sMasterConfig) != HAL_OK)
  {
    Error_Handler();
  }
  sConfigIC.ICPolarity = TIM_INPUTCHANNELPOLARITY_RISING;
  sConfigIC.ICSelection = TIM_ICSELECTION_DIRECTTI;
  sConfigIC.ICPrescaler = TIM_ICPSC_DIV1;
  sConfigIC.ICFilter = 0;
  if (HAL_TIM_IC_ConfigChannel(&htim4, &sConfigIC, TIM_CHANNEL_1) != HAL_OK)
  {
    Error_Handler();
  }

}

static void MX_USART3_UART_Init(void)
{

  huart3.Instance = USART3;
  huart3.Init.BaudRate = 115200;
  huart3.Init.WordLength = UART_WORDLENGTH_8B;
  huart3.Init.StopBits = UART_STOPBITS_1;
  huart3.Init.Parity = UART_PARITY_NONE;
  huart3.Init.Mode = UART_MODE_TX_RX;
  huart3.Init.HwFlowCtl = UART_HWCONTROL_NONE;
  huart3.Init.OverSampling = UART_OVERSAMPLING_16;
  if (HAL_UART_Init(&huart3) != HAL_OK)
  {
    Error_Handler();
  }

}

static void MX_DMA_Init(void)
{

  /* DMA controller clock enable */
  __HAL_RCC_DMA1_CLK_ENABLE();

  /* DMA interrupt init */
  /* DMA1_Channel1_IRQn interrupt configuration */
  HAL_NVIC_SetPriority(DMA1_Channel1_IRQn, 0, 0);
  HAL_NVIC_EnableIRQ(DMA1_Channel1_IRQn);

}

static void MX_GPIO_Init(void)
{
  GPIO_InitTypeDef GPIO_InitStruct = {0};

  /* GPIO Ports Clock Enable */
  __HAL_RCC_GPIOA_CLK_ENABLE();
  __HAL_RCC_GPIOB_CLK_ENABLE();

  /*Configure GPIO pin Output Level */
  HAL_GPIO_WritePin(GPIOA, GPIO_PIN_0, GPIO_PIN_RESET);

  /*Configure GPIO pin Output Level */
  HAL_GPIO_WritePin(GPIOB, S1_Pin|S0_Pin|S2_Pin|S3_Pin, GPIO_PIN_RESET);

  /*Configure GPIO pin : PA0 */
  GPIO_InitStruct.Pin = GPIO_PIN_0;
  GPIO_InitStruct.Mode = GPIO_MODE_OUTPUT_PP;
  GPIO_InitStruct.Pull = GPIO_NOPULL;
  GPIO_InitStruct.Speed = GPIO_SPEED_FREQ_LOW;
  HAL_GPIO_Init(GPIOA, &GPIO_InitStruct);

  /*Configure GPIO pins : S1_Pin S0_Pin S2_Pin S3_Pin */
  GPIO_InitStruct.Pin = S1_Pin|S0_Pin|S2_Pin|S3_Pin;
  GPIO_InitStruct.Mode = GPIO_MODE_OUTPUT_PP;
  GPIO_InitStruct.Pull = GPIO_NOPULL;
  GPIO_InitStruct.Speed = GPIO_SPEED_FREQ_LOW;
  HAL_GPIO_Init(GPIOB, &GPIO_InitStruct);

}

void Error_Handler(void)
{
  __disable_irq();
  while (1)
  {
  }
}
